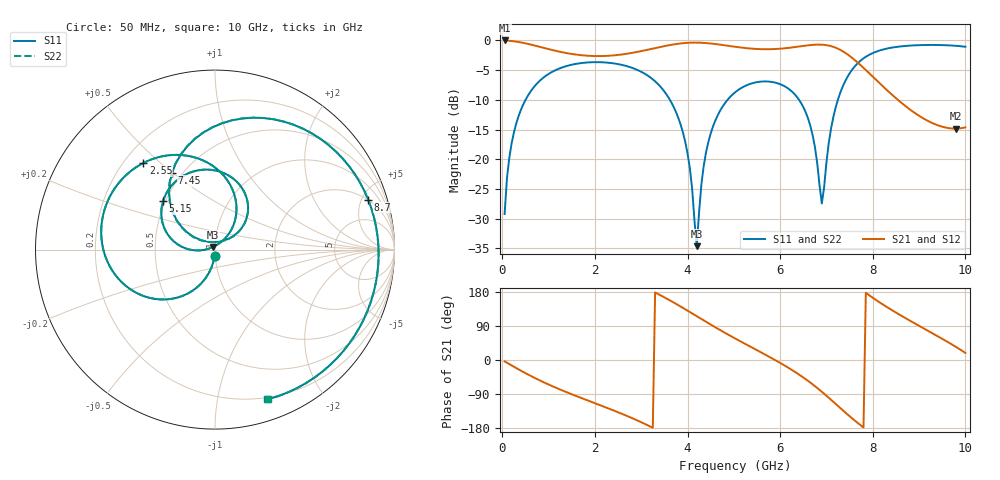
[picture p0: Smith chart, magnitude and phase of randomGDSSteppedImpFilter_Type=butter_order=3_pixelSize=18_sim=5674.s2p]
! freq	dB(S11)	phase(S11)	dB(S12)	phase(S12)
!  dB(S21)	phase(S21)	dB(S22)	phase(S22)
!S-par simulation data
#  GHz  S  DB  R 50
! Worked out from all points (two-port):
!   200 points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, 50 MHz to 10 GHz, reference 50 ohm
!   highest |S21| = -0.01 dB at 50 MHz (marker M1); lowest = -14.8 dB at 9.8 GHz (marker M2)
!   |S21| within 3 dB of the highest: start of sweep to 7.566 GHz
!   lowest |S11| = -34.6 dB at 4.2 GHz (marker M3), VSWR 1.04, Z = 48.9 + j1.49 ohm
!   |S11| at or under -10 dB: start of sweep to 502.1 MHz; 3.619 GHz to 4.864 GHz (1.245 GHz wide, 29.4 % of centre); 6.408 GHz to 7.246 GHz (838.3 MHz wide, 12.3 % of centre)
!   |S22| runs from -34.6 to -0.8 dB; largest |S21 - S12| = 0
!   S11 on the Smith chart (normalised r, x): 50 MHz: 0.99, -0.07; 2.55 GHz: 0.28, +0.44; 5.15 GHz: 0.49, +0.31; 7.45 GHz: 0.44, +0.50; 8.7 GHz: 1.96, +5.62; 10 GHz: 0.18, -1.39
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0.05  -29.20 -93.8  -0.01 -3.6  -0.01 -3.6  -29.20 -93.8
0.2  -17.37 -104.8  -0.11 -14.3  -0.11 -14.3  -17.37 -104.8
0.5  -10.03 -125.1  -0.50 -34.7  -0.50 -34.7  -10.03 -125.0
1.75  -3.77 167.3  -2.53 -102.3  -2.53 -102.3  -3.77 167.3
2.55  -4.06 129.6  -2.40 -140.4  -2.40 -140.4  -4.06 129.6
3.4  -7.66 83.1  -1.13 171.9  -1.13 171.9  -7.66 83.1
3.95  -17.05 50.3  -0.44 133.9  -0.44 133.9  -17.05 50.3
4.2  -34.61 125.1  -0.38 115.5  -0.38 115.5  -34.64 125.2
4.45  -17.08 -180.0  -0.48 97.1  -0.48 97.1  -17.08 -179.9
5.05  -8.59 143.4  -1.10 55.3  -1.10 55.3  -8.59 143.4
5.15  -8.06 137.1  -1.20 48.7  -1.20 48.7  -8.06 137.1
6.05  -7.54 79.6  -1.37 -11.2  -1.37 -11.2  -7.54 79.6
6.7  -15.88 37.0  -0.75 -64.1  -0.75 -64.1  -15.90 36.6
6.9  -27.43 89.2  -0.73 -83.8  -0.73 -83.8  -27.78 89.1
7.1  -14.79 148.3  -0.97 -105.1  -0.97 -105.1  -14.81 148.9
7.45  -6.19 119.2  -2.33 -143.2  -2.33 -143.2  -6.19 119.5
7.9  -2.52 77.8  -5.36 172.9  -5.36 172.9  -2.52 78.0
8.35  -1.31 42.5  -8.68 136.3  -8.68 136.3  -1.31 42.7
8.7  -0.94 18.1  -11.01 110.9  -11.01 110.9  -0.94 18.2
9.25  -0.77 -18.3  -13.78 73.1  -13.78 73.1  -0.76 -18.2
9.8  -0.91 -55.8  -14.83 34.3  -14.83 34.3  -0.91 -55.7
10  -1.07 -70.8  -14.63 18.6  -14.63 18.6  -1.07 -70.6
